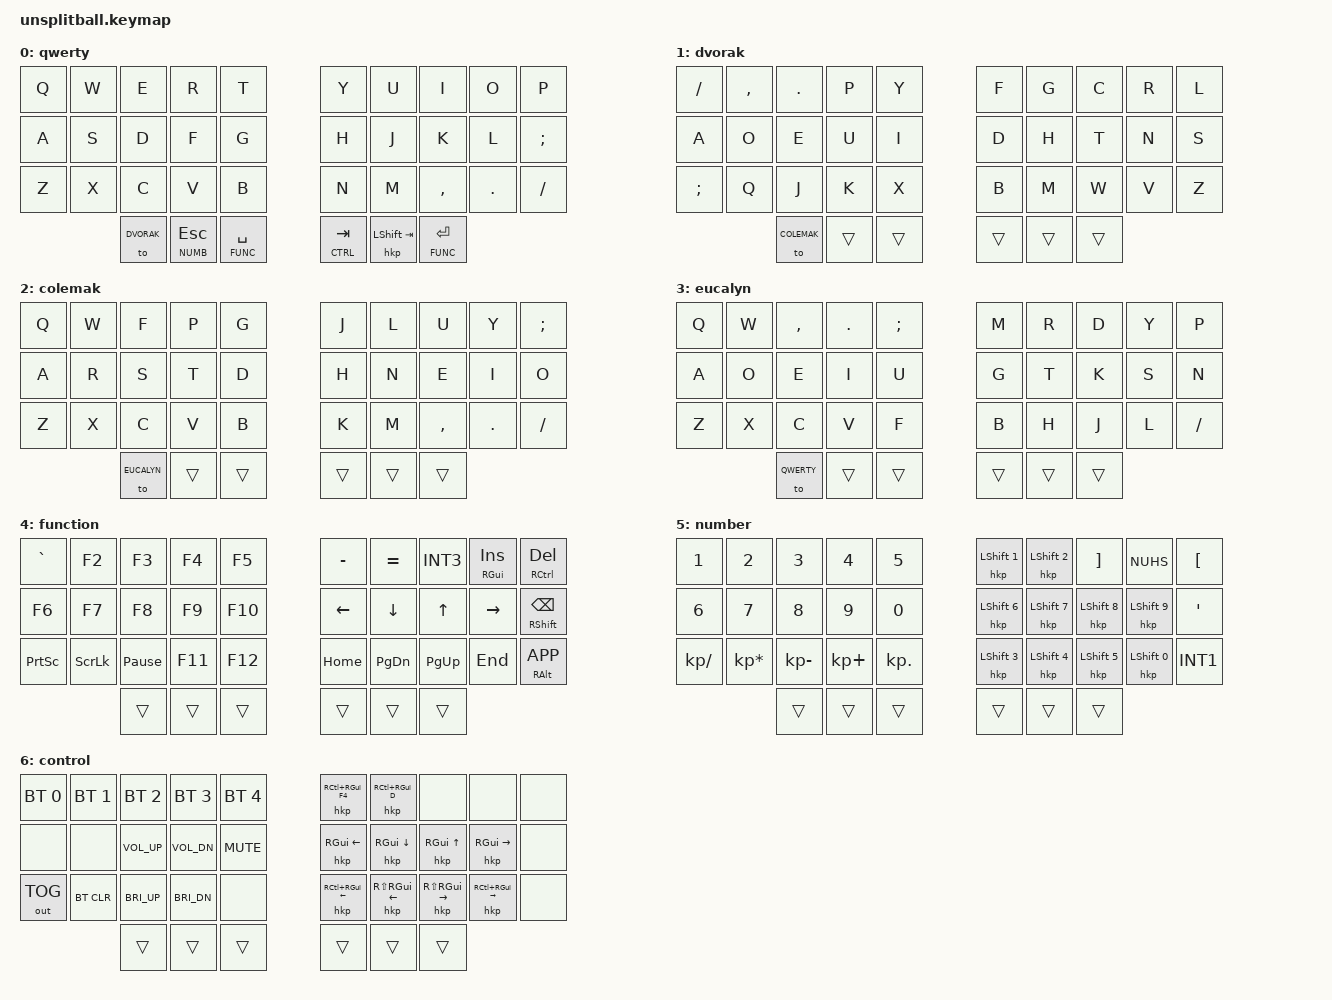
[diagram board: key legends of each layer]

#include <behaviors.dtsi>
#include <dt-bindings/zmk/bt.h>
#include <dt-bindings/zmk/keys.h>
#include <dt-bindings/zmk/outputs.h>
#include <dt-bindings/zmk/pointing.h>
#include <input/processors/sensor_rotation.dtsi>

#define QWERTY	0
#define FUNC	1
#define DVORAK	2
#define COLEMAK	3
#define EUCALYN	4
#define NUMB	5
#define CTRL	6

#define NONE &none &none &none &none &none &none &none &none &none &none &none &none &none &none &none &none &none &none \
             &none &none &none &none &none &none &none &none &none &none &none &none &none &none &none &none &none &none

&lt { flavor = "hold-preferred"; };
&mt { flavor = "hold-preferred"; quick-tap-ms = <300>; };

/ {
	behaviors {
		
		half: half {
			compatible = "zmk,behavior-macro";
			#binding-cells = <0>;
			bindings = <&macro_tap &kp INT2 &kp GRAVE>;
		};
		
		mkp_2mb1: mkp_2mb1 {
			compatible = "zmk,behavior-macro";
			#binding-cells = <0>;
			bindings = <&macro_tap &mkp MB1 &mkp MB1>;
		};
		
		mkp_3mb1: mkp_3mb1 {
			compatible = "zmk,behavior-macro";
			#binding-cells = <0>;
			bindings = <&macro_tap &mkp MB1 &mkp MB1 &mkp MB1>;
		};
		
		hkp: hkp {
			compatible = "zmk,behavior-macro-two-param";
			#binding-cells = <2>;
			bindings
					= <&macro_param_1to1>, <&macro_press &kp MACRO_PLACEHOLDER>
					, <&macro_param_2to1>, <&macro_press &kp MACRO_PLACEHOLDER>
					, <&macro_pause_for_release>
					, <&macro_param_2to1>, <&macro_release &kp MACRO_PLACEHOLDER>
					, <&macro_param_1to1>, <&macro_release &kp MACRO_PLACEHOLDER>
			;
		};
		
		home: home {
			compatible = "zmk,behavior-macro";
			#binding-cells = <0>;
			bindings = <&macro_tap &kp A &kp S &kp D &kp F &kp SEMI &kp L &kp K &kp J>;
		};
	};
	
	keymap {
		
		compatible = "zmk,keymap";
		qwerty {
			bindings = <
				&kp Q	&kp W		&kp E			&kp R			&kp T			&kp Y			&kp U	&kp I		&kp O		&kp P
				&kp A	&kp S		&kp D			&kp F			&kp G			&kp H			&kp J	&kp K		&kp L		&kp SEMI
				&kp Z	&kp X		&kp C			&kp V			&kp B			&kp N			&kp M	&kp COMMA	&kp DOT		&kp SLASH
						&to DVORAK	&lt NUMB ESC	&lt FUNC SPACE	&lt CTRL TAB	&hkp LSHFT TAB	&lt FUNC ENTER
			>;
		};
		dvorak {
			bindings = <
				&kp SLASH	&kp COMMA		&kp DOT		&kp P	&kp Y	&kp F	&kp G	&kp C	&kp R	&kp L
				&kp A		&kp O			&kp E		&kp U	&kp I	&kp D	&kp H	&kp T	&kp N	&kp S
				&kp SEMI	&kp Q			&kp J		&kp K	&kp X	&kp B	&kp M	&kp W	&kp V	&kp Z
							&to COLEMAK		&trans		&trans	&trans	&trans	&trans
			>;
		};
		colemak {
			bindings = <
				&kp Q	&kp W		&kp F	&kp P	&kp G	&kp J	&kp L	&kp U		&kp Y	&kp SEMI
				&kp A	&kp R		&kp S	&kp T	&kp D	&kp H	&kp N	&kp E		&kp I	&kp O
				&kp Z	&kp X		&kp C	&kp V	&kp B	&kp K	&kp M	&kp COMMA	&kp DOT	&kp SLASH
						&to EUCALYN	&trans	&trans	&trans	&trans	&trans
			>;
		};
		eucalyn {
			bindings = <
				&kp Q	&kp W		&kp COMMA	&kp DOT		&kp SEMI	&kp M	&kp R	&kp D	&kp Y	&kp P
				&kp A	&kp O		&kp E		&kp I		&kp U		&kp G	&kp T	&kp K	&kp S	&kp N
				&kp Z	&kp X		&kp C		&kp V		&kp F		&kp B	&kp H	&kp J	&kp L	&kp SLASH
						&to QWERTY	&trans		&trans		&trans		&trans	&trans
			>;
		};
		function {
			bindings = <
				&kp GRAVE	&kp F2		&kp F3			&kp F4		&kp F5		&kp MINUS	&kp EQUAL	&kp INT3	&mt RGUI INS	&mt RCTRL DEL
				&kp F6		&kp F7		&kp F8			&kp F9		&kp F10		&kp LEFT	&kp DOWN	&kp UP		&kp RIGHT		&mt RSHFT BSPC
				&kp PSCRN	&kp SLCK	&kp PAUSE_BREAK	&kp F11		&kp F12		&kp HOME	&kp PG_DN	&kp PG_UP	&kp END			&mt RALT K_APP
							&trans		&trans			&trans		&trans		&trans		&trans
			>;
		};
		number {
			bindings = <
				&kp N1			&kp N2				&kp N3			&kp N4			&kp N5			&hkp LSHFT N1	&hkp LSHFT N2	&kp RBKT		&kp NUHS		&kp LBKT
				&kp N6			&kp N7				&kp N8			&kp N9			&kp N0			&hkp LSHFT N6	&hkp LSHFT N7	&hkp LSHFT N8	&hkp LSHFT N9	&kp SQT
				&kp KP_SLASH	&kp KP_ASTERISK		&kp KP_MINUS	&kp KP_PLUS		&kp KP_DOT		&hkp LSHFT N3	&hkp LSHFT N4	&hkp LSHFT N5	&hkp LSHFT N0	&kp INT1
								&trans				&trans			&trans			&trans			&trans			&trans
			>;
		};
		control {
			bindings = <
				&bt BT_SEL 0	&bt BT_SEL 1	&bt BT_SEL 2	&bt BT_SEL 3	&bt BT_SEL 4	&hkp RC(RGUI) F4	&hkp RC(RGUI) D		&none				&none				&none
				&none			&none			&kp C_VOL_UP	&kp C_VOL_DN	&kp C_MUTE		&hkp RGUI LEFT		&hkp RGUI DOWN		&hkp RGUI UP		&hkp RGUI RIGHT		&none
				&out OUT_TOG	&bt BT_CLR		&kp C_BRI_UP	&kp C_BRI_DN	&none			&hkp RC(RGUI) LEFT	&hkp RS(RGUI) LEFT	&hkp RS(RGUI) RIGHT	&hkp RC(RGUI) RIGHT	&none
								&trans			&trans			&trans			&trans			&trans				&trans
			>;
		};
	};
	
	combos {
		
		compatible = "zmk,combos";
		
		// bootloader
		bootloader	{ slow-release; timeout-ms = <10>; key-positions = <0 10 20>; bindings = <&bootloader>; };
		
		// macro
		home	{ slow-release; timeout-ms = <33>; key-positions = <13 16>; bindings = <&home>; };
		
		// lang
		half	{ slow-release; timeout-ms = <33>; key-positions = <0 1>; bindings = <&half>; };
		wide	{ slow-release; timeout-ms = <33>; key-positions = <1 2>; bindings = <&kp INT2>; };
		
		// mouse button
		single_mb1	{ slow-release; timeout-ms = <33>; key-positions = <16 17>; bindings = <&mkp MB1>; };
		single_mb2	{ slow-release; timeout-ms = <33>; key-positions = <17 18>; bindings = <&mkp MB2>; };
		single_mb3	{ slow-release; timeout-ms = <33>; key-positions = <16 18>; bindings = <&mkp MB3>; };
		single_mb4	{ slow-release; timeout-ms = <33>; key-positions = <26 27>; bindings = <&mkp MB4>; };
		single_mb5	{ slow-release; timeout-ms = <33>; key-positions = <27 28>; bindings = <&mkp MB5>; };
		double_mb1	{ slow-release; timeout-ms = <33>; key-positions = <16 17 18>; bindings = <&mkp_2mb1>; };
		triple_mb1	{ slow-release; timeout-ms = <33>; key-positions = <26 27 28>; bindings = <&mkp_3mb1>; };
		
		// home row mods
		hrm_lctl		{ slow-release; timeout-ms = <33>; key-positions = <10 11>; bindings = <&kp LCTRL>; };
		hrm_lsht		{ slow-release; timeout-ms = <33>; key-positions = <11 12>; bindings = <&kp LSHFT>; };
		hrm_lalt		{ slow-release; timeout-ms = <33>; key-positions = <12 13>; bindings = <&kp LALT>; };
		hrm_lgui		{ slow-release; timeout-ms = <33>; key-positions = <12 14>; bindings = <&kp LGUI>; };
		hrm_lgui_lctl	{ slow-release; timeout-ms = <33>; key-positions = <10 14>; bindings = <&kp LG(LCTRL)>; };
		hrm_lgui_lsht	{ slow-release; timeout-ms = <33>; key-positions = <11 14>; bindings = <&kp LG(LSHFT)>; };
		hrm_lgui_lalt	{ slow-release; timeout-ms = <33>; key-positions = <13 14>; bindings = <&kp LG(LALT)>; };
		hrm_lctl_lalt	{ slow-release; timeout-ms = <33>; key-positions = <10 13>; bindings = <&kp LC(LALT)>; };
		hrm_lctl_lsht	{ slow-release; timeout-ms = <33>; key-positions = <10 11 12>; bindings = <&kp LC(LSHFT)>; };
		hrm_lsht_lalt	{ slow-release; timeout-ms = <33>; key-positions = <11 12 13>; bindings = <&kp LS(LALT)>; };
		hrm_lmeh		{ slow-release; timeout-ms = <33>; key-positions = <10 11 12 13>; bindings = <&kp LC(LS(LALT))>; };
	};
};

&sensor_rotation {
	rotation-angle = <25>;
};

/ {
	
	input-processors {
		
		zip_scroll_x_scaler: zip_scroll_x_scaler {
			
			compatible = "zmk,input-processor-scaler";
			#input-processor-cells = <2>;
			type = <INPUT_EV_REL>;
			codes = <INPUT_REL_HWHEEL>;
			track-remainders;
		};
		
		zip_scroll_y_scaler: zip_scroll_y_scaler {
			
			compatible = "zmk,input-processor-scaler";
			#input-processor-cells = <2>;
			type = <INPUT_EV_REL>;
			codes = <INPUT_REL_WHEEL>;
			track-remainders;
		};
	};
	
	trackball_listener: trackball_listener {
		
		input-processors
			= <&sensor_rotation>
			, <&zip_x_scaler 3 5>
			, <&zip_y_scaler 4 5>
			, <&zip_xy_transform (INPUT_TRANSFORM_X_INVERT | INPUT_TRANSFORM_Y_INVERT)>
		;
		
		vertical_scroller {
			
			layers = <FUNC>;
			process-next;
			input-processors
				= <&zip_xy_to_scroll_mapper>
				, <&zip_scroll_x_scaler 0 32>
				, <&zip_scroll_y_scaler 1 32>
				, <&zip_scroll_transform (INPUT_TRANSFORM_X_INVERT)>
			;
		};
		
		horizontal_scroller {
			
			layers = <NUMB>;
			process-next;
			input-processors
				= <&zip_xy_to_scroll_mapper>
				, <&zip_scroll_y_scaler 0 32>
				, <&zip_scroll_x_scaler 1 32>
				, <&zip_scroll_transform (INPUT_TRANSFORM_X_INVERT)>
			;
		};
	};
};
